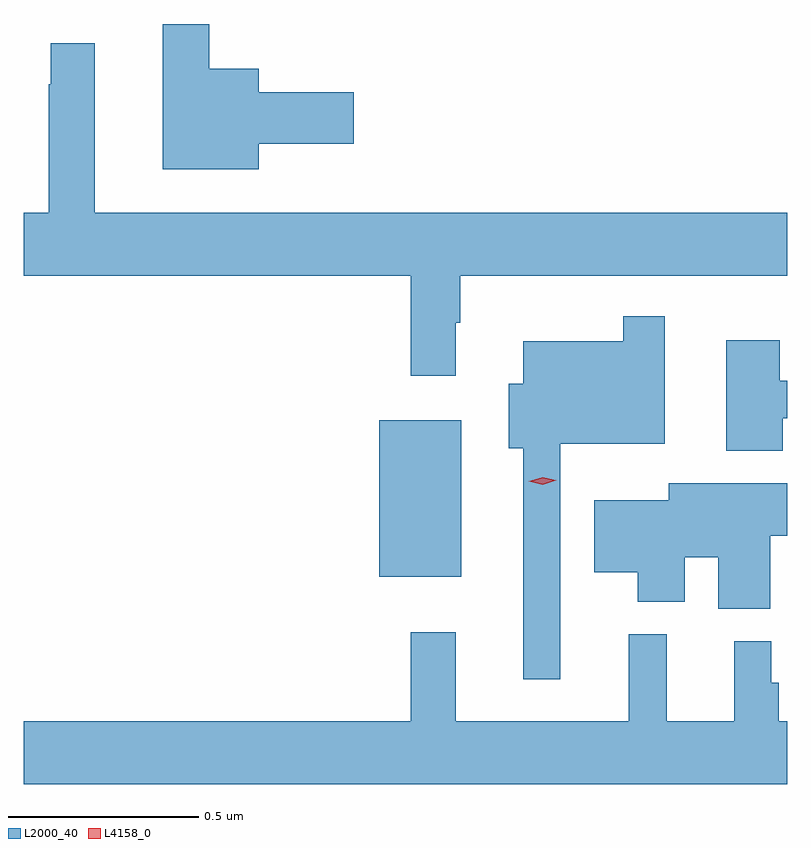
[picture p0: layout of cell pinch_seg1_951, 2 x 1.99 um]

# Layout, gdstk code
import gdstk
lib = gdstk.Library(unit=1e-6, precision=1e-09)
def R(c, l, rs):  # rectangles x0, y0, x1, y1
    for r in rs: c.add(gdstk.rectangle(r[:2], r[2:], *l))
def P(c, l, *ps):  # polygons
    for p in ps: c.add(gdstk.Polygon(p, *l))
L2000_40 = (2000, 40)
L4158_0 = (4158, 0)

pinch_seg1_951 = lib.new_cell('pinch_seg1_951')
R(pinch_seg1_951, L2000_40, [(210.422,516.311,210.637,516.721)])
P(pinch_seg1_951, L2000_40, [(210.106,517.445),(210.355,517.445),(210.355,517.58),(210.106,517.58),(210.106,517.642),(209.977,517.642),(209.977,517.759),(209.855,517.759),(209.855,517.379),(210.106,517.379)],
  [(210.505,516.837),(210.622,516.837),(210.622,516.977),(210.634,516.977),(210.634,517.1),(211.491,517.1),(211.491,517.264),(209.677,517.264),(209.677,517.708),(209.562,517.708),(209.562,517.601),(209.556,517.601),(209.556,517.264),(209.491,517.264),(209.491,517.1),(210.505,517.1)],
  [(210.897,516.659),(211.17,516.659),(211.17,516.994),(211.062,516.994),(211.062,516.928),(210.8,516.928),(210.8,516.817),(210.761,516.817),(210.761,516.647),(210.8,516.647),(210.8,516.042),(210.897,516.042)],
  [(211.479,516.726),(211.491,516.726),(211.491,516.825),(211.471,516.825),(211.471,516.931),(211.331,516.931),(211.331,516.641),(211.479,516.641)],
  [(211.447,516.418),(211.491,516.418),(211.491,516.556),(211.181,516.556),(211.181,516.511),(210.986,516.511),(210.986,516.323),(211.1,516.323),(211.1,516.245),(211.222,516.245),(211.222,516.362),(211.31,516.362),(211.31,516.227),(211.447,516.227)],
  [(211.491,515.932),(211.469,515.932),(211.469,516.033),(211.449,516.033),(211.449,516.142),(211.352,516.142),(211.352,515.932),(211.175,515.932),(211.175,516.16),(211.076,516.16),(211.076,515.932),(210.623,515.932),(210.623,516.166),(210.505,516.166),(210.505,515.932),(209.491,515.932),(209.491,515.768),(211.491,515.768)])
P(pinch_seg1_951, L4158_0, [(210.85,516.552),(210.814,516.561),(210.814,516.561),(210.814,516.561),(210.85,516.572),(210.886,516.564),(210.886,516.564),(210.886,516.564)])

lib.write_gds('pinch_seg1_951.gds')
